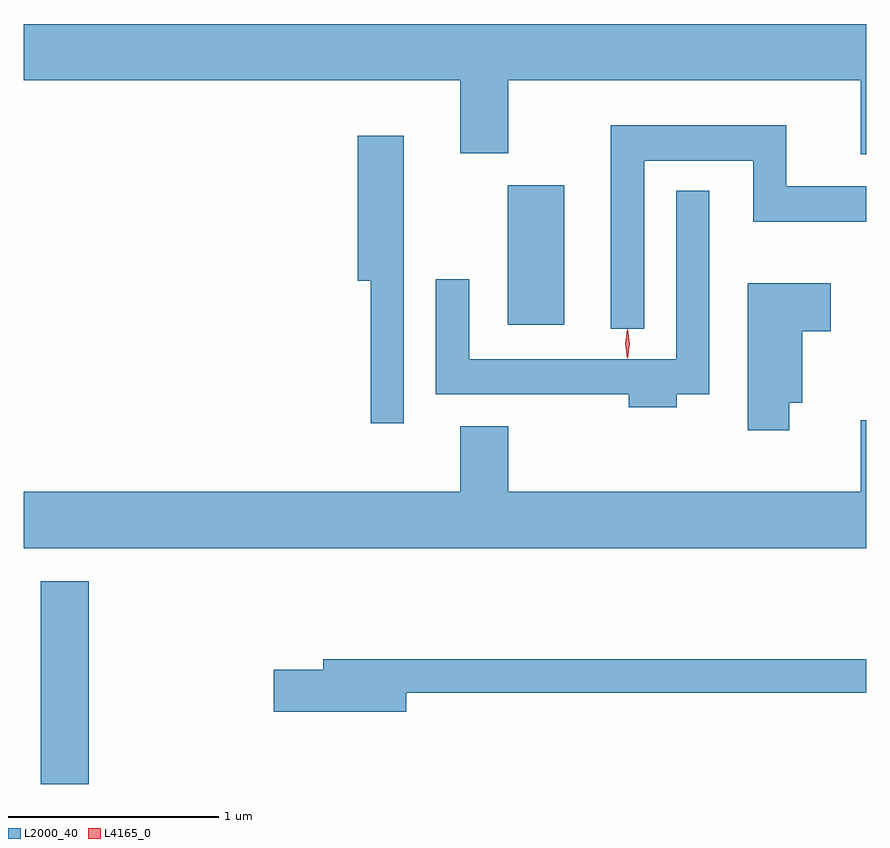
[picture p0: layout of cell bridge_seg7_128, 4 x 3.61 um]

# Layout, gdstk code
import gdstk
lib = gdstk.Library(unit=1e-6, precision=1e-09)
def R(c, l, rs):  # rectangles x0, y0, x1, y1
    for r in rs: c.add(gdstk.rectangle(r[:2], r[2:], *l))
def P(c, l, *ps):  # polygons
    for p in ps: c.add(gdstk.Polygon(p, *l))
L2000_40 = (2000, 40)
L4165_0 = (4165, 0)

bridge_seg7_128 = lib.new_cell('bridge_seg7_128')
R(bridge_seg7_128, L2000_40, [(1559.851,1786.457,1560.079,1787.419), (1562.066,1788.636,1562.334,1789.299)])
P(bridge_seg7_128, L2000_40, [(1563.769,1790.064),(1559.769,1790.064),(1559.769,1789.796),(1561.841,1789.796),(1561.841,1789.451),(1562.069,1789.451),(1562.069,1789.796),(1563.741,1789.796),(1563.741,1789.446),(1563.769,1789.446)],
  [(1562.714,1789.416),(1563.231,1789.416),(1563.231,1789.126),(1563.769,1789.126),(1563.769,1789.294),(1563.389,1789.294),(1563.389,1789.584),(1562.556,1789.584),(1562.556,1788.618),(1562.714,1788.618)],
  [(1561.574,1789.534),(1561.356,1789.534),(1561.356,1788.846),(1561.416,1788.846),(1561.416,1788.168),(1561.574,1788.168)],
  [(1562.869,1788.306),(1563.024,1788.306),(1563.024,1789.273),(1562.866,1789.273),(1562.866,1788.474),(1561.884,1788.474),(1561.884,1788.853),(1561.726,1788.853),(1561.726,1788.306),(1562.641,1788.306),(1562.641,1788.246),(1562.869,1788.246)],
  [(1563.404,1788.266),(1563.464,1788.266),(1563.464,1788.606),(1563.599,1788.606),(1563.599,1788.834),(1563.206,1788.834),(1563.206,1788.136),(1563.404,1788.136)],
  [(1563.769,1788.184),(1563.741,1788.184),(1563.741,1787.844),(1562.069,1787.844),(1562.069,1788.154),(1561.841,1788.154),(1561.841,1787.844),(1559.769,1787.844),(1559.769,1787.576),(1563.769,1787.576)],
  [(1561.584,1786.891),(1563.769,1786.891),(1563.769,1787.049),(1561.191,1787.049),(1561.191,1786.999),(1560.956,1786.999),(1560.956,1786.801),(1561.584,1786.801)])
P(bridge_seg7_128, L4165_0, [(1562.634,1788.477),(1562.625,1788.546),(1562.634,1788.616),(1562.635,1788.616),(1562.636,1788.616),(1562.645,1788.546),(1562.636,1788.477),(1562.635,1788.477)],
  [(1562.635,1788.479),(1562.634,1788.48),(1562.625,1788.546),(1562.634,1788.612),(1562.635,1788.613),(1562.635,1788.612),(1562.645,1788.546),(1562.635,1788.48)])

lib.write_gds('bridge_seg7_128.gds')
